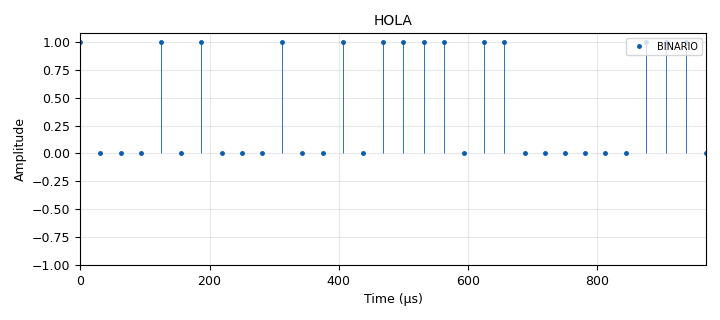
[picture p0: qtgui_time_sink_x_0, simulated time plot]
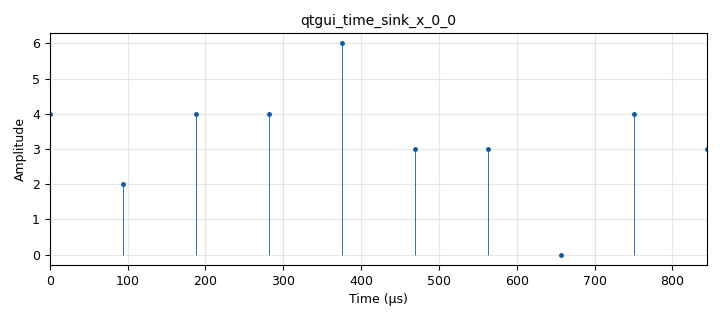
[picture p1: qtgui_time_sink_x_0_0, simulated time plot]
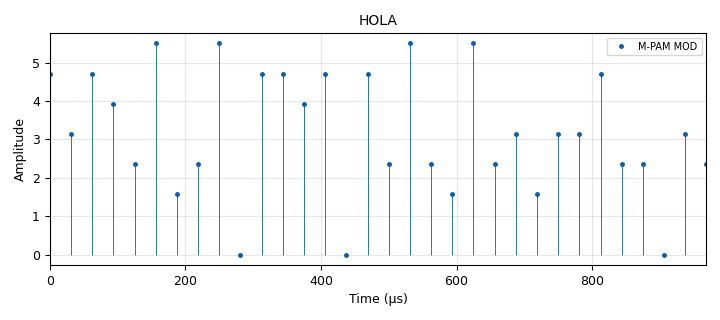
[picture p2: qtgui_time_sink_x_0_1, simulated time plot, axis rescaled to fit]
options:
  parameters:
    generate_options: qt_gui
    id: LAB5
    output_language: python
    title: Not titled yet
  states: {}

blocks:
- name: M
  id: variable
  parameters:
    value: '8'
  states: {}
- name: Nbps
  id: variable
  parameters:
    value: int(math.log(M,2))
  states: {}
- name: Rb
  id: variable
  parameters:
    value: '32000'
  states: {}
- name: Rs
  id: variable
  parameters:
    value: Rb/Nbps
  states: {}
- name: analog_random_source_x_0
  id: analog_random_source_x
  parameters:
    max: '2'
    min: '0'
    num_samps: '1000'
    repeat: 'True'
    type: byte
  states: {}
- name: blocks_char_to_float_0
  id: blocks_char_to_float
  parameters:
    scale: '1'
  states: {}
- name: blocks_char_to_float_0_0
  id: blocks_char_to_float
  parameters:
    scale: '1'
  states: {}
- name: blocks_char_to_float_0_0_0
  id: blocks_char_to_float
  parameters:
    scale: '1'
  states: {}
- name: blocks_multiply_const_vxx_0
  id: blocks_multiply_const_vxx
  parameters:
    const: 2*math.pi/M
    type: float
  states: {}
- name: blocks_repack_bits_bb_0
  id: blocks_repack_bits_bb
  parameters:
    endianness: gr.GR_LSB_FIRST
    k: '1'
    l: Nbps
  states: {}
- name: epy_block_0
  id: epy_block
  parameters:
    _source_code: |
      """
      Embedded Python Blocks:

      Each time this file is saved, GRC will instantiate the first class it finds
      to get ports and parameters of your block. The arguments to __init__  will
      be the parameters. All of them are required to have default values!
      """
      import numpy as np
      from gnuradio import gr

      class blk ( gr . sync_block ) :
      	""" Es un VCO de dos e n t r a d a s :
      	Q : para m a n i p u l a r la fase en radianes ,
      	A : para m a n i p u l a r la
      	a m p l i t u d . """
      	def __init__ ( self ) :
      	    gr . sync_block . __init__ ( self ,
      	    	name = 'e_VCO_fase_fc ' ,
      		in_sig =[ np . float32 , np . float32 ] ,
      		out_sig =[ np . complex64 ]
      	)

      	def work ( self , input_items , output_items ) :
      		Q = input_items [0]
      		A = input_items [1]
      		Sec = output_items [0]
      		return len ( Sec )
  states: {state: disabled}
- name: import_0
  id: import
  parameters:
    imports: import math
  states: {}
- name: qtgui_time_sink_x_0
  id: qtgui_time_sink_x
  parameters:
    label1: BINARIO
    marker1: '0'
    name: '"HOLA"'
    size: '32'
    srate: Rb
    stemplot: 'True'
    type: float
    width1: '3'
  states: {}
- name: qtgui_time_sink_x_0_0
  id: qtgui_time_sink_x
  parameters:
    autoscale: 'True'
    grid: 'True'
    marker1: '0'
    size: int(32/Nbps)
    srate: Rs
    stemplot: 'True'
    type: float
    width1: '3'
  states: {}
- name: qtgui_time_sink_x_0_1
  id: qtgui_time_sink_x
  parameters:
    label1: M-PAM MOD
    marker1: '0'
    name: '"HOLA"'
    size: '32'
    srate: Rb
    stemplot: 'True'
    type: float
    width1: '3'
  states: {}

connections:
- [analog_random_source_x_0, '0', blocks_char_to_float_0, '0']
- [analog_random_source_x_0, '0', blocks_repack_bits_bb_0, '0']
- [blocks_char_to_float_0, '0', qtgui_time_sink_x_0, '0']
- [blocks_char_to_float_0_0, '0', qtgui_time_sink_x_0_0, '0']
- [blocks_char_to_float_0_0_0, '0', blocks_multiply_const_vxx_0, '0']
- [blocks_multiply_const_vxx_0, '0', qtgui_time_sink_x_0_1, '0']
- [blocks_repack_bits_bb_0, '0', blocks_char_to_float_0_0, '0']
- [blocks_repack_bits_bb_0, '0', blocks_char_to_float_0_0_0, '0']

metadata:
  file_format: 1
  grc_version: 3.10.7.0
